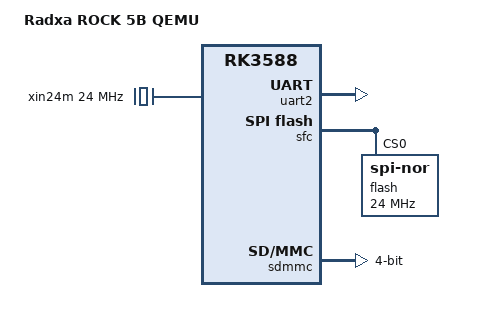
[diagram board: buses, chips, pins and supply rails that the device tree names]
// SPDX-License-Identifier: GPL-2.0-or-later
/dts-v1/;

/*
 * U-Boot control device tree for the QEMU ROCK 5B machine.
 *
 * Derived from qemu-machine-images branch upstream/rock-5b
 * (commit eacd4aea1879382428bfd87836aec41a869b6459)
 * machine/aarch64/rock-5b/recipe/dts/rock5b-qemu.dts.
 *
 * QEMU-specific delta: a dw_mmc SD-card controller node at sdmmc@fe2c0000
 * (aliases mmc1, the controller selected by ProcessONE's "mmc dev 1" boot
 * script) and a fixed-clock source for its biu/ciu/phase clocks.  The
 * reference QEMU machine has no SCMI clock protocol, so the ciu clock is a
 * fixed clock; U-Boot only uses it for divider bookkeeping and the QEMU
 * dw_mmc model is register driven.
 */

/ {
    model = "Radxa ROCK 5B QEMU";
    compatible = "radxa,rock-5b", "rockchip,rk3588";
    #address-cells = <2>;
    #size-cells = <2>;

    aliases {
        serial2 = &uart2;
        spi0 = &sfc;
        mmc1 = &sdmmc;
    };

    chosen {
        stdout-path = &uart2;
    };

    xin24m: clock-24m {
        compatible = "fixed-clock";
        #clock-cells = <0>;
        clock-frequency = <24000000>;
        bootph-all;
    };

    sdmmc_clk: sdmmc-clock {
        compatible = "fixed-clock";
        #clock-cells = <0>;
        clock-frequency = <50000000>;
        bootph-all;
    };

    sys_grf: syscon@fd58c000 {
        compatible = "rockchip,rk3588-sys-grf", "syscon";
        reg = <0 0xfd58c000 0 0x1000>;
        bootph-all;
    };

    php_grf: syscon@fd5b0000 {
        compatible = "rockchip,rk3588-php-grf", "syscon";
        reg = <0 0xfd5b0000 0 0x1000>;
        bootph-all;
    };

    cru: clock-controller@fd7c0000 {
        compatible = "rockchip,rk3588-cru";
        reg = <0 0xfd7c0000 0 0x5c000>;
        rockchip,grf = <&php_grf>;
        #clock-cells = <1>;
        #reset-cells = <1>;
        bootph-all;
    };

    uart2: serial@feb50000 {
        compatible = "rockchip,rk3588-uart", "snps,dw-apb-uart";
        reg = <0 0xfeb50000 0 0x100>;
        clock-frequency = <24000000>;
        clocks = <&xin24m>, <&xin24m>;
        clock-names = "baudclk", "apb_pclk";
        reg-shift = <2>;
        reg-io-width = <4>;
        bootph-all;
    };

    sfc: spi@fe2b0000 {
        compatible = "rockchip,sfc";
        reg = <0 0xfe2b0000 0 0x4000>;
        clocks = <&cru 303>, <&cru 304>;
        clock-names = "clk_sfc", "hclk_sfc";
        #address-cells = <1>;
        #size-cells = <0>;

        flash@0 {
            compatible = "jedec,spi-nor";
            reg = <0>;
            spi-max-frequency = <24000000>;
            spi-tx-bus-width = <1>;
            spi-rx-bus-width = <1>;
        };
    };

    /*
     * RK3588 SD-card controller (dw_mmc).  The QEMU rock-5b machine models
     * the controller at 0xfe2c0000 (GIC SPI 203) and attaches
     * "-drive if=sd,index=2" as the card.  Mainline U-Boot's
     * rockchip_dw_mmc driver matches the rk3288 fallback compatible.
     */
    sdmmc: mmc@fe2c0000 {
        compatible = "rockchip,rk3588-dw-mshc", "rockchip,rk3288-dw-mshc";
        reg = <0x0 0xfe2c0000 0x0 0x4000>;
        clocks = <&sdmmc_clk>, <&sdmmc_clk>, <&sdmmc_clk>, <&sdmmc_clk>;
        clock-names = "biu", "ciu", "ciu-drive", "ciu-sample";
        fifo-depth = <0x100>;
        max-frequency = <50000000>;
        bus-width = <4>;
        status = "okay";
    };

    otp@fecc0000 {
        compatible = "rockchip,rk3588-otp";
        reg = <0 0xfecc0000 0 0x400>;
    };
};
